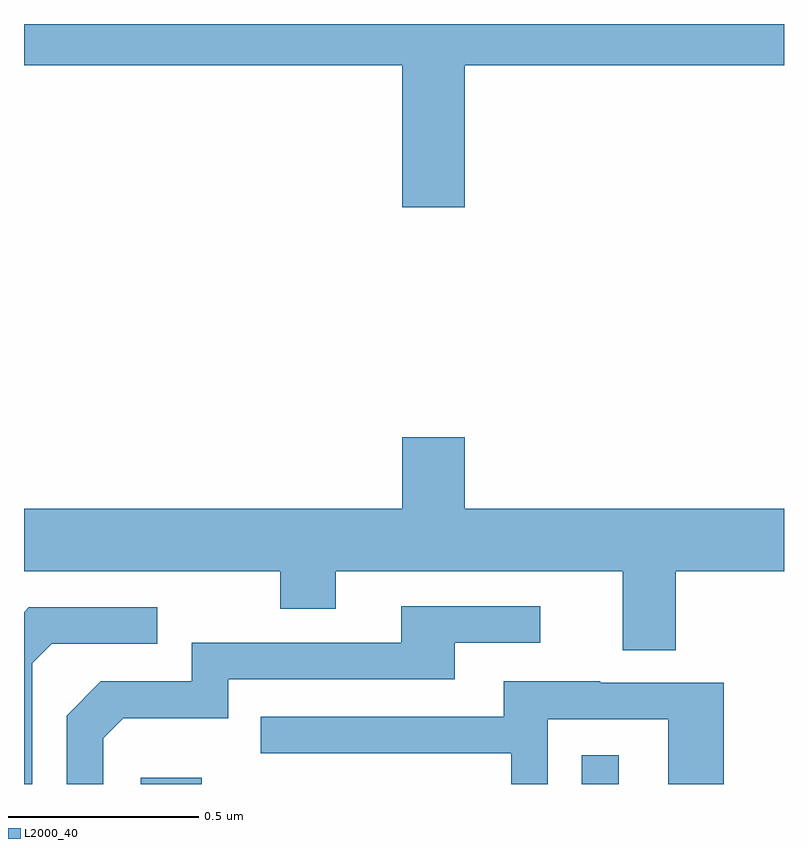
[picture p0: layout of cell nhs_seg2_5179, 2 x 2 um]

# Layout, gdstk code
import gdstk
lib = gdstk.Library(unit=1e-6, precision=1e-09)
def R(c, l, rs):  # rectangles x0, y0, x1, y1
    for r in rs: c.add(gdstk.rectangle(r[:2], r[2:], *l))
def P(c, l, *ps):  # polygons
    for p in ps: c.add(gdstk.Polygon(p, *l))
L2000_40 = (2000, 40)

nhs_seg2_5179 = lib.new_cell('nhs_seg2_5179')
R(nhs_seg2_5179, L2000_40, [(176.307,589.8,176.468,589.816), (177.468,589.8,177.565,589.876)])
P(nhs_seg2_5179, L2000_40, [(177.16,591.692),(178,591.692),(178,591.8),(176,591.8),(176,591.692),(176.996,591.692),(176.996,591.318),(177.16,591.318)],
  [(177.575,590.152),(177.715,590.152),(177.715,590.36),(178,590.36),(178,590.524),(177.16,590.524),(177.16,590.713),(176.996,590.713),(176.996,590.524),(176,590.524),(176,590.36),(176.674,590.36),(176.674,590.261),(176.821,590.261),(176.821,590.36),(177.575,590.36)],
  [(176.208,589.92),(176.261,589.973),(176.538,589.973),(176.538,590.076),(177.133,590.076),(177.133,590.172),(177.358,590.172),(177.358,590.268),(176.993,590.268),(176.993,590.172),(176.442,590.172),(176.442,590.07),(176.202,590.07),(176.112,589.98),(176.112,589.8),(176.208,589.8)],
  [(176.022,590.118),(176.073,590.169),(176.35,590.169),(176.35,590.265),(176.013,590.265),(176,590.252),(176,589.8),(176.022,589.8)],
  [(177.378,589.971),(177.696,589.971),(177.696,589.8),(177.841,589.8),(177.841,590.067),(177.517,590.067),(177.517,590.071),(177.263,590.071),(177.263,589.977),(176.623,589.977),(176.623,589.881),(177.282,589.881),(177.282,589.8),(177.378,589.8)])

lib.write_gds('nhs_seg2_5179.gds')
